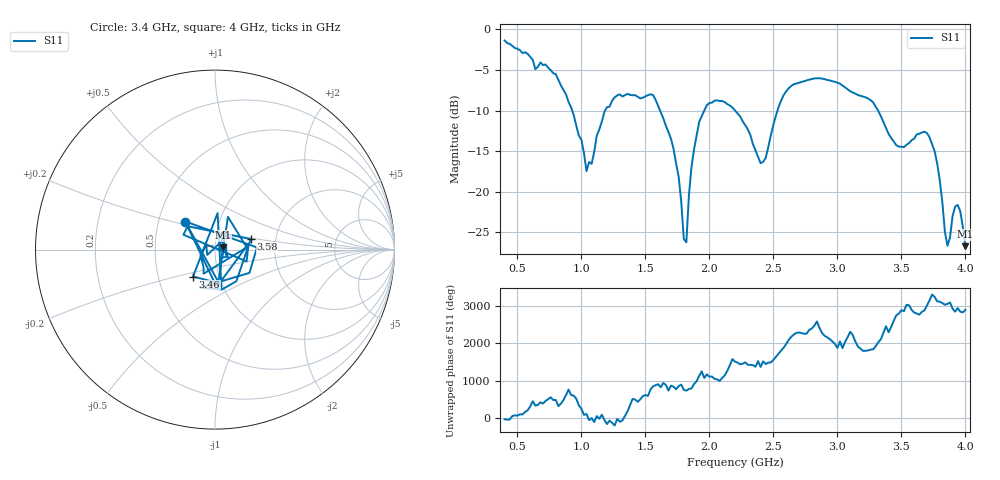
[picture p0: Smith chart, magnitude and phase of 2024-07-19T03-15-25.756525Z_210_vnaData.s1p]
!Created with skrf (http://scikit-rf.org).
# Hz S RI R 50.0
!freq ReS11 ImS11
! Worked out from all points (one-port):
!   181 points, 400 MHz to 4 GHz, reference 50 ohm
!   lowest |S11| = -26.7 dB at 4 GHz (marker M1), VSWR 1.10, Z = 54.6 + j1.44 ohm
!   |S11| at or under -10 dB: 1.615 GHz to 1.96 GHz (345.1 MHz wide, 19.3 % of centre); 2.2 GHz to 2.532 GHz (331.7 MHz wide, 14 % of centre); 3.318 GHz to end of sweep (the widest 3 of 4)
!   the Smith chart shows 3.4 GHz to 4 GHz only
!   S11 on the Smith chart (normalised r, x): 3.4 GHz: 0.69, +0.22; 3.46 GHz: 0.75, -0.23; 3.58 GHz: 1.48, +0.18; 4 GHz: 1.09, +0.03
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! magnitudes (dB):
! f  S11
! 400 MHz  -1.4
! 860 MHz  -7.5
! 1.04 GHz  -17.5
! 1.18 GHz  -10.1
! 1.3 GHz  -8.0
! 1.56 GHz  -8.1
! 1.7 GHz  -13.5
! 1.76 GHz  -18.2
! 1.8 GHz  -25.8
! 1.82 GHz  -26.2
! 1.86 GHz  -17.0
! 1.92 GHz  -11.4
! 2.04 GHz  -8.8
! 2.2 GHz  -10.0
! 2.4 GHz  -16.5
! 2.56 GHz  -8.8
! 2.66 GHz  -6.7
! 3.1 GHz  -7.6
! 3.28 GHz  -9.0
! 3.4 GHz  -12.9
! 3.46 GHz  -14.3
! 3.56 GHz  -14.0
! 3.58 GHz  -13.7
! 3.72 GHz  -13.3
! 3.78 GHz  -16.6
! 3.86 GHz  -26.7
! 3.94 GHz  -21.6
! 4 GHz  -26.7
